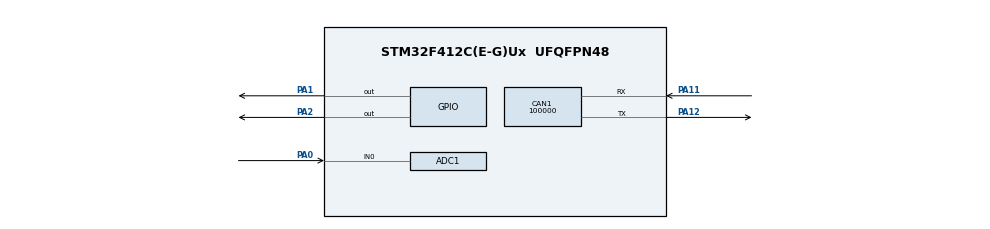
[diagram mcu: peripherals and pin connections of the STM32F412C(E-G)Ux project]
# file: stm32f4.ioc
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ADC1.Channel-0\#ChannelRegularConversion=ADC_CHANNEL_0
ADC1.NbrOfConversionFlag=1
ADC1.Rank-0\#ChannelRegularConversion=1
ADC1.SamplingTime-0\#ChannelRegularConversion=ADC_SAMPLETIME_3CYCLES
ADC1.master=1
CAN1.BS1=CAN_BS1_5TQ
CAN1.BS2=CAN_BS2_4TQ
CAN1.CalculateBaudRate=100000
CAN1.CalculateTimeBit=10000
CAN1.CalculateTimeQuantum=1000.0
CAN1.Mode=CAN_MODE_LOOPBACK
CAN1.SJW=CAN_SJW_1TQ
Mcu.Family=STM32F4
Mcu.Name=STM32F412C(E-G)Ux
Mcu.Package=UFQFPN48
NVIC.CAN1_RX0_IRQn=true\:0\:0\:false\:false\:true\:true\:true\:true
NVIC.CAN1_RX1_IRQn=true\:0\:0\:false\:false\:true\:true\:true\:true
NVIC.CAN1_SCE_IRQn=true\:0\:0\:false\:false\:true\:true\:true\:true
NVIC.CAN1_TX_IRQn=true\:0\:0\:false\:false\:true\:true\:true\:true
NVIC.PriorityGroup=NVIC_PRIORITYGROUP_4
PA0.Signal=ADCx_IN0
PA1.Signal=GPIO_Output
PA11.GPIO_PuPd=GPIO_PULLUP
PA11.GPIO_Speed=GPIO_SPEED_FREQ_HIGH
PA11.Mode=CAN_Activate
PA11.Signal=CAN1_RX
PA12.GPIO_PuPd=GPIO_PULLUP
PA12.GPIO_Speed=GPIO_SPEED_FREQ_HIGH
PA12.Mode=CAN_Activate
PA12.Signal=CAN1_TX
PA2.Signal=GPIO_Output
PH0\ -\ OSC_IN.Mode=HSE-External-Clock-Source
PH0\ -\ OSC_IN.Signal=RCC_OSC_IN
PH1\ -\ OSC_OUT.Mode=HSE-External-Clock-Source
PH1\ -\ OSC_OUT.Signal=RCC_OSC_OUT
ProjectManager.HeapSize=0x200
ProjectManager.StackSize=0x400
ProjectManager.TargetToolchain=CMake
RCC.CortexFreq_Value=16000000
RCC.USBFreq_Value=96000000
RCC.VCOOutputFreq_Value=192000000
SH.ADCx_IN0.0=ADC1_IN0,IN0
board=custom

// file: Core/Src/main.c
/* USER CODE BEGIN Header */
/**
  ******************************************************************************
  * @file           : main.c
  * @brief          : Main program body
  ******************************************************************************
  * @attention
  *
  * Copyright (c) 2024 STMicroelectronics.
  * All rights reserved.
  *
  * This software is licensed under terms that can be found in the LICENSE file
  * in the root directory of this software component.
  * If no LICENSE file comes with this software, it is provided AS-IS.
  *
  ******************************************************************************
  */
/* USER CODE END Header */
#include "main.h"

ADC_HandleTypeDef hadc1;

CAN_HandleTypeDef hcan1;

/* USER CODE BEGIN PV */

CAN_TxHeaderTypeDef     TxHeader;

uint16_t                 value_adc;  // adc is 12 bit

uint8_t                 TxData[8];  // INFO needs to be uint8_t for FDCAN message

uint8_t                 counter = 0;  // with uint8_t the debugger shows TxData wrong

uint32_t                TxMailbox;

CAN_RxHeaderTypeDef     RxHeader;

uint8_t                 RxData[8];

/* USER CODE END PV */

void SystemClock_Config(void);
static void MX_GPIO_Init(void);
static void MX_ADC1_Init(void);
static void MX_CAN1_Init(void);
static void CAN_Config(void);
/* USER CODE BEGIN PFP */

void prnt(void);

/* USER CODE END PFP */

int main(void)
{

    /* MCU Configuration--------------------------------------------------------*/

    /* Reset of all peripherals, Initializes the Flash interface and the Systick. */
    HAL_Init();

    /* Configure the system clock */
    SystemClock_Config();

    /* Initialize all configured peripherals */
    MX_GPIO_Init();
    MX_ADC1_Init();
    MX_CAN1_Init();

    /* USER CODE BEGIN 2 */
    CAN_Config();

   /* Run the ADC calibration in single-ended mode */
	//if (HAL_ADCEx_Calibration_Start(&hadc1) != HAL_OK)
	//{
	//	Error_Handler();
	//}
	/* Start ADCgroup regular conversion */
	if (HAL_ADC_Start(&hadc1) != HAL_OK)
	{
		Error_Handler();
	}

    TxData[0] = 0xF4;

    /* USER CODE END 2 */

    /* Infinite loop */
    while (1)
    {

        /* USER CODE BEGIN 3 */

        // Testing of GPIO Output Port
        /* --------------------------------------------------------- */
        HAL_GPIO_TogglePin(GPIOA, GPIO_PIN_1);	// Toggle GPIO Pin
        /* --------------------------------------------------------- */

        // Testing of ADC
        /* --------------------------------------------------------- */
        HAL_ADC_Start(&hadc1);

        if (HAL_ADC_PollForConversion(&hadc1, 1) == HAL_OK)
        {
            value_adc = HAL_ADC_GetValue(&hadc1);
            float value = value_adc * (float) 3.3 / 4095;
            if (value > 0.25)
            {
                HAL_GPIO_WritePin(GPIOA, GPIO_PIN_2, GPIO_PIN_SET);
            }
            else
            {
                HAL_GPIO_WritePin(GPIOA, GPIO_PIN_2, GPIO_PIN_RESET);
            }
        }
        /* --------------------------------------------------------- */

        // Testing of FDCAN
        /* --------------------------------------------------------- */

        // Print value state of GPIO_PIN_1, adc value and a counter value using CAN Messages
        /* Save state of GPIO Output Pin in TxData and transmit it via FDCAN */

        TxData[1] = (GPIOA, GPIO_PIN_1);

        TxData[2] = value_adc;

        TxData[3] = counter++;

        //if (HAL_CAN_AddTxMessage(&hcan1, &TxHeader, TxData, &TxMailbox) != HAL_OK)
        //{
        //    Error_Handler();
        //}

        HAL_Delay(20000);  //3000
    }
    /* USER CODE END 3 */
}

void SystemClock_Config(void)
{
    RCC_OscInitTypeDef RCC_OscInitStruct = {0};
    RCC_ClkInitTypeDef RCC_ClkInitStruct = {0};

    /** Configure the main internal regulator output voltage
     */
    __HAL_RCC_PWR_CLK_ENABLE();
    __HAL_PWR_VOLTAGESCALING_CONFIG(PWR_REGULATOR_VOLTAGE_SCALE1);

    /** Initializes the RCC Oscillators according to the specified parameters
     * in the RCC_OscInitTypeDef structure.
     */
    RCC_OscInitStruct.OscillatorType = RCC_OSCILLATORTYPE_HSI;
    RCC_OscInitStruct.HSIState = RCC_HSI_ON;
    RCC_OscInitStruct.HSICalibrationValue = RCC_HSICALIBRATION_DEFAULT;
    RCC_OscInitStruct.PLL.PLLState = RCC_PLL_NONE;
    if (HAL_RCC_OscConfig(&RCC_OscInitStruct) != HAL_OK)
    {
        Error_Handler();
    }

    /** Initializes the CPU, AHB and APB buses clocks
     */
    RCC_ClkInitStruct.ClockType = RCC_CLOCKTYPE_HCLK|RCC_CLOCKTYPE_SYSCLK
                                |RCC_CLOCKTYPE_PCLK1|RCC_CLOCKTYPE_PCLK2;
    RCC_ClkInitStruct.SYSCLKSource = RCC_SYSCLKSOURCE_HSI;
    RCC_ClkInitStruct.AHBCLKDivider = RCC_SYSCLK_DIV1;
    RCC_ClkInitStruct.APB1CLKDivider = RCC_HCLK_DIV1;
    RCC_ClkInitStruct.APB2CLKDivider = RCC_HCLK_DIV1;

    if (HAL_RCC_ClockConfig(&RCC_ClkInitStruct, FLASH_LATENCY_0) != HAL_OK)
    {
        Error_Handler();
    }
}

static void MX_ADC1_Init(void)
{

    ADC_ChannelConfTypeDef sConfig = {0};

    /** Configure the global features of the ADC (Clock, Resolution, Data Alignment and number of conversion)
     */
    hadc1.Instance = ADC1;
    hadc1.Init.ClockPrescaler = ADC_CLOCK_SYNC_PCLK_DIV2;
    hadc1.Init.Resolution = ADC_RESOLUTION_12B;
    hadc1.Init.ScanConvMode = DISABLE;
    hadc1.Init.ContinuousConvMode = DISABLE;
    hadc1.Init.DiscontinuousConvMode = DISABLE;
    hadc1.Init.ExternalTrigConvEdge = ADC_EXTERNALTRIGCONVEDGE_NONE;
    hadc1.Init.ExternalTrigConv = ADC_SOFTWARE_START;
    hadc1.Init.DataAlign = ADC_DATAALIGN_RIGHT;
    hadc1.Init.NbrOfConversion = 1;
    hadc1.Init.DMAContinuousRequests = DISABLE;
    hadc1.Init.EOCSelection = ADC_EOC_SINGLE_CONV;
    if (HAL_ADC_Init(&hadc1) != HAL_OK)
    {
        Error_Handler();
    }

    /** Configure for the selected ADC regular channel its corresponding rank in the sequencer and its sample time.
     */
    sConfig.Channel = ADC_CHANNEL_0;
    sConfig.Rank = 1;
    sConfig.SamplingTime = ADC_SAMPLETIME_3CYCLES;
    if (HAL_ADC_ConfigChannel(&hadc1, &sConfig) != HAL_OK)
    {
        Error_Handler();
    }

}

static void MX_CAN1_Init(void)
{

    hcan1.Instance = CAN1;
    hcan1.Init.Prescaler = 16;
    hcan1.Init.Mode = CAN_MODE_NORMAL;
    hcan1.Init.SyncJumpWidth = CAN_SJW_1TQ;
    hcan1.Init.TimeSeg1 = CAN_BS1_5TQ;
    hcan1.Init.TimeSeg2 = CAN_BS2_4TQ;
    hcan1.Init.TimeTriggeredMode = DISABLE;
    hcan1.Init.AutoBusOff = DISABLE;
    hcan1.Init.AutoWakeUp = DISABLE;
    hcan1.Init.AutoRetransmission = DISABLE;
    hcan1.Init.ReceiveFifoLocked = DISABLE;
    hcan1.Init.TransmitFifoPriority = DISABLE;
    if (HAL_CAN_Init(&hcan1) != HAL_OK)
    {
        Error_Handler();
    }

}

static void MX_GPIO_Init(void)
{
    GPIO_InitTypeDef GPIO_InitStruct = {0};

    /* GPIO Ports Clock Enable */
    __HAL_RCC_GPIOH_CLK_ENABLE();
    __HAL_RCC_GPIOA_CLK_ENABLE();

    /*Configure GPIO pin Output Level */
    HAL_GPIO_WritePin(GPIOA, GPIO_PIN_1|GPIO_PIN_2, GPIO_PIN_RESET);

    /*Configure GPIO pins : PA1 PA2 */
    GPIO_InitStruct.Pin = GPIO_PIN_1|GPIO_PIN_2;
    GPIO_InitStruct.Mode = GPIO_MODE_OUTPUT_PP;
    GPIO_InitStruct.Pull = GPIO_NOPULL;
    GPIO_InitStruct.Speed = GPIO_SPEED_FREQ_LOW;
    HAL_GPIO_Init(GPIOA, &GPIO_InitStruct);

}

/* USER CODE BEGIN 4 */

static void CAN_Config(void)
{
    CAN_FilterTypeDef  sFilterConfig;

    /* Configure the CAN Filter */
    sFilterConfig.FilterBank = 0;
    sFilterConfig.FilterMode = CAN_FILTERMODE_IDMASK;
    sFilterConfig.FilterScale = CAN_FILTERSCALE_32BIT;
    sFilterConfig.FilterIdHigh = 0x0000;
    sFilterConfig.FilterIdLow = 0x0000;
    sFilterConfig.FilterMaskIdHigh = 0x0000;
    sFilterConfig.FilterMaskIdLow = 0x0000;
    sFilterConfig.FilterFIFOAssignment = CAN_RX_FIFO0;
    sFilterConfig.FilterActivation = ENABLE;
    sFilterConfig.SlaveStartFilterBank = 14;

    if (HAL_CAN_ConfigFilter(&hcan1, &sFilterConfig) != HAL_OK)
    {
        /* Filter configuration Error */
        Error_Handler();
    }

    /* Start the CAN peripheral */
    if (HAL_CAN_Start(&hcan1) != HAL_OK)
    {
        /* Start Error */
        Error_Handler();
    }

    /* Activate CAN RX notification */
    if (HAL_CAN_ActivateNotification(&hcan1, CAN_IT_RX_FIFO0_MSG_PENDING) != HAL_OK)
    {
        /* Notification Error */
        Error_Handler();
    }

    /* Configure Transmission Header */
    TxHeader.StdId = 0x321;
    TxHeader.ExtId = 0x01;
    TxHeader.RTR = CAN_RTR_DATA;
    TxHeader.IDE = CAN_ID_STD;
    TxHeader.DLC = 4;
    TxHeader.TransmitGlobalTime = DISABLE;
}

/**
  * @brief  Rx Fifo 0 message pending callback
  * @param  hcan: pointer to a CAN_HandleTypeDef structure that contains
  *         the configuration information for the specified CAN.
  * @retval None
  */
void HAL_CAN_RxFifo0MsgPendingCallback(CAN_HandleTypeDef *hcan)
{
    /* Get RX message */
    if (HAL_CAN_GetRxMessage(hcan, CAN_RX_FIFO0, &RxHeader, RxData) != HAL_OK)
    {
        /* Reception Error */
        Error_Handler();
    }

    RxData[0] = 0xF4;

    if (HAL_CAN_AddTxMessage(&hcan1, &TxHeader, RxData, &TxMailbox) != HAL_OK)
    {
        Error_Handler();
    }
}

void prnt(void)
{
    int a=0;
    a++;
}

/* USER CODE END 4 */

void Error_Handler(void)
{
    __disable_irq();
    while (1)
    {
    }
}
